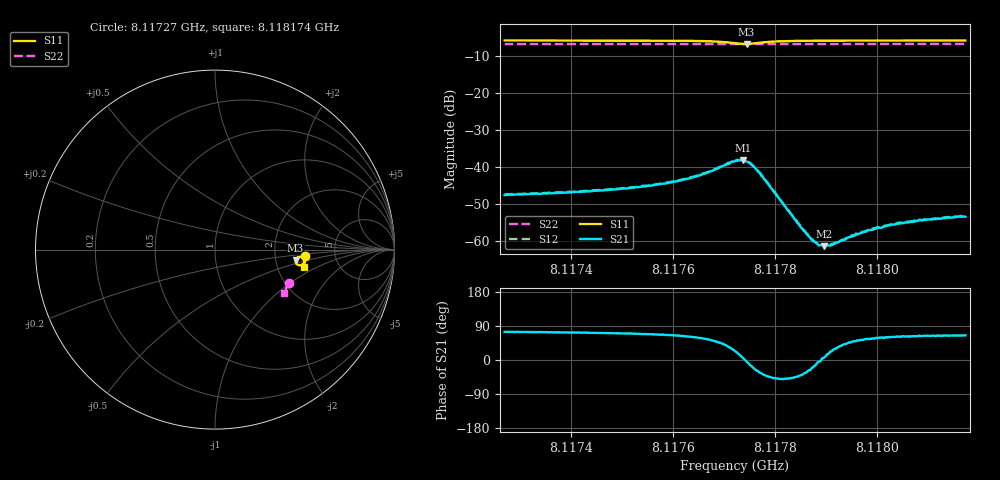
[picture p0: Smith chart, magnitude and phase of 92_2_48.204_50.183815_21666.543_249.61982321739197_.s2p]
#  HZ  S  RI  R  50.00
! Rohde & Schwarz Vector Network Analyzer
! Rohde-Schwarz,ZNB20-2Port,1311601062101988,3.16
! Created: UTC 3/20/2024, 11:40:08 AM
! freq[Hz]  re:S11  im:S11  re:S21  im:S21  re:S12  im:S12  re:S22  im:S22
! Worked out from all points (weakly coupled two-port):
!   401 points, 8.11727 GHz to 8.118174 GHz, reference 50 ohm
!   highest |S21| = -38.20 dB at 8.117738 GHz (marker M1); lowest = -61.4 dB at 8.117896 GHz (marker M2)
!   lowest |S11| = -6.9 dB at 8.117744 GHz (marker M3), VSWR 2.65, Z = 129 - j19.1 ohm
!   |S11| at or under -10 dB: nowhere
!   |S22| runs from -6.9 to -6.9 dB; largest |S21 - S12| = 0.00043
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8.1172698e9  0.5042 -0.0384  0.0011 0.00397  0.00119 0.00405  0.4106 -0.1873
8.1174213e9  0.5024 -0.0517  0.00142 0.00434  0.00148 0.00443  0.4065 -0.1972
8.1175252e9  0.5001 -0.062  0.00184 0.00491  0.00193 0.00493  0.4035 -0.2038
8.1175727e9  0.4982 -0.0677  0.00224 0.00531  0.00234 0.0054  0.4021 -0.2069
8.1176134e9  0.4955 -0.0735  0.00283 0.00579  0.00297 0.0059  0.4007 -0.2096
8.1176473e9  0.4912 -0.0792  0.00379 0.00642  0.00391 0.00648  0.3995 -0.2117
8.1176744e9  0.4848 -0.0845  0.00524 0.00686  0.00542 0.00696  0.3982 -0.2135
8.1177219e9  0.457 -0.0822  0.0109 0.00479  0.011 0.00468  0.3958 -0.2159
8.1177377e9  0.4487 -0.0671  0.0123 0.0011  0.0122 0.000947  0.3953 -0.2161
8.1177445e9  0.4489 -0.0588  0.0117 -0.000872  0.012 -0.00097  0.3951 -0.2162
8.1177558e9  0.4557 -0.047  0.00989 -0.00324  0.00998 -0.00334  0.3951 -0.2164
8.1177716e9  0.4698 -0.0404  0.00662 -0.00443  0.00666 -0.00467  0.3953 -0.2172
8.1178439e9  0.4957 -0.0568  0.00125 -0.00121  0.00127 -0.00128  0.3942 -0.2226
8.1178733e9  0.4975 -0.0627  0.000948 -0.000341  0.000986 -0.000364  0.3932 -0.2247
8.1178846e9  0.4979 -0.0646  0.00089 -9.12e-05  0.000907 -0.000129  0.393 -0.2254
8.1178959e9  0.4981 -0.0664  0.000844 8.16e-05  0.000874 9.67e-05  0.3927 -0.226
8.117914e9  0.4984 -0.0691  0.000787 0.000392  0.00082 0.000383  0.392 -0.2272
8.1179457e9  0.4984 -0.0732  0.000771 0.000803  0.000794 0.000813  0.3908 -0.2292
8.1179705e9  0.4983 -0.0762  0.000757 0.00102  0.000764 0.00105  0.3901 -0.2308
8.1180248e9  0.4978 -0.0817  0.000814 0.00141  0.000812 0.00141  0.3884 -0.2342
8.1180858e9  0.4969 -0.0875  0.000856 0.0017  0.000859 0.00171  0.3862 -0.2381
8.1181739e9  0.4958 -0.0951  0.000885 0.00191  0.000943 0.00195  0.3832 -0.2435
